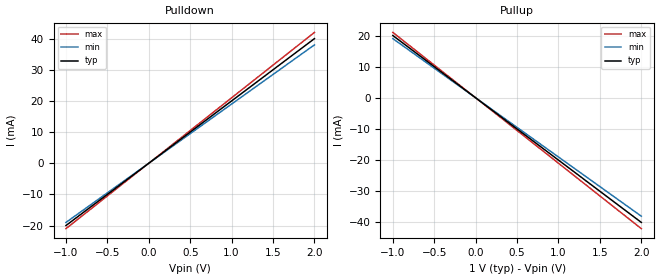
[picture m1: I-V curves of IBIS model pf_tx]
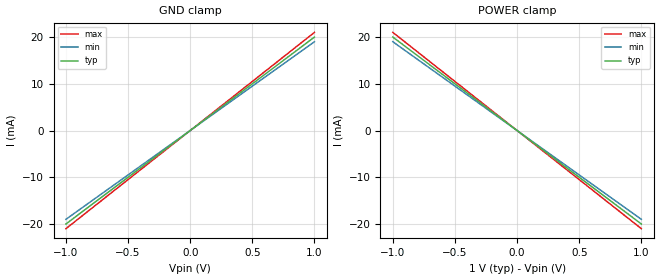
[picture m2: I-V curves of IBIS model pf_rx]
| photonflux open-source IBIS-AMI SerDes models (pf_tx, pf_rx)
[IBIS Ver]   7.1
[File Name]  pf_serdes.ibs
[File Rev]   1.0
[Date]   2026-10-18
[Source]   photonflux (https://github.com/alexsludds/photonflux), models/ibis_ami
[Notes]   Behavioral 50 Ohm buffers wrapped around the pf_tx / pf_rx
   algorithmic models. The executables are built from source for
   the host by `python -m photonflux ami build`; the same file
   name is used on every platform (a Mach-O dylib on macOS).
[Disclaimer] Provided "as is", without warranty of any kind (BSD-3-Clause).
[Copyright]  Copyright (c) 2026 the photonflux authors
[Component]   pf_serdes
[Manufacturer]  photonflux
[Package]
R_pkg   0.05   0.02   0.10
L_pkg   0.50n   0.20n   1.00n
C_pkg   0.20p   0.10p   0.30p
[Pin]  signal_name  model_name  R_pin  L_pin  C_pin
1   TXP   pf_tx
2   TXN   pf_tx
3   RXP   pf_rx
4   RXN   pf_rx
[Diff Pin]  inv_pin  vdiff  tdelay_typ  tdelay_min  tdelay_max
1   2   0.05V  NA   NA   NA
3   4   0.05V  NA   NA   NA
| Models and submodels in the file (2): pf_tx (Output), pf_rx (Input)
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[Model]   pf_tx
Model_type  Output
C_comp   0.30p   0.20p   0.40p
Vmeas = 0.5
[Algorithmic Model]
Executable Linux_gcc_64   pf_tx.so   pf_tx.ami
Executable Windows_VisualStudio_64  pf_tx.dll   pf_tx.ami
[End Algorithmic Model]
[Voltage Range]  1.0  0.95  1.05
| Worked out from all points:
|   slope of the pulldown table from 0 to 0.15 V, typ, clamps not added: 50 ohm
|   slope of the pullup table from 0 to 0.15 V, typ, clamps not added: 50 ohm
[Pulldown]
| voltage   I(typ)   I(min)   I(max)
-1V       -20mA      -19mA      -21mA
0V        0A         0A         0A
1V        20mA       19mA       21mA
2V        40mA       38mA       42mA
[Pullup]
| voltage   I(typ)   I(min)   I(max)
-1V       20mA       19mA       21mA
0V        0A         0A         0A
1V        -20mA      -19mA      -21mA
2V        -40mA      -38mA      -42mA
[Ramp]
dV/dt_r  0.6/10p  0.6/12p  0.6/8p
dV/dt_f  0.6/10p  0.6/12p  0.6/8p
[Model]   pf_rx
Model_type  Input
C_comp   0.30p   0.20p   0.40p
Vinl = 0.45
Vinh = 0.55
[Algorithmic Model]
Executable Linux_gcc_64   pf_rx.so   pf_rx.ami
Executable Windows_VisualStudio_64  pf_rx.dll   pf_rx.ami
[End Algorithmic Model]
[Voltage Range]  1.0  0.95  1.05
[GND Clamp]
| voltage   I(typ)   I(min)   I(max)
-1V       -20mA      -19mA      -21mA
0V        0A         0A         0A
1V        20mA       19mA       21mA
[Power Clamp]
| voltage   I(typ)   I(min)   I(max)
-1V       20mA       19mA       21mA
0V        0A         0A         0A
1V        -20mA      -19mA      -21mA
